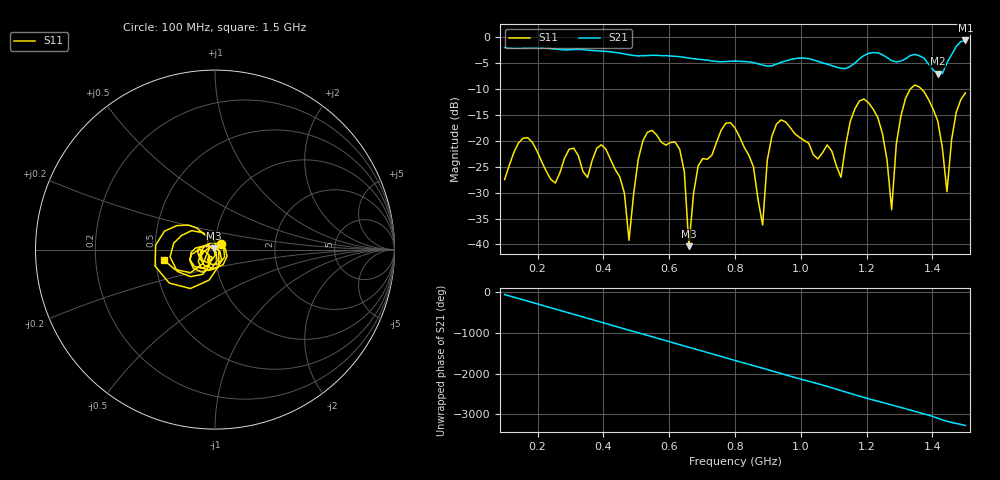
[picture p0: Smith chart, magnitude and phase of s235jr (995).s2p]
! NanoVNA-App
! Date: 2025-09-25 15:11:55
! Start: 100MHz Stop: 1,5GHz Points: 101
! S-Parameter data: F S11 S21 S12 S22
# Hz S RI R 50
!  Frequency  S11_Real  S11_Imag  S21_Real  S21_Imag  S12_Real  S12_Imag  S22_Real  S22_Imag
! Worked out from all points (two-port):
!   101 points, 100 MHz to 1.5 GHz, reference 50 ohm
!   highest |S21| = -0.60 dB at 1.5 GHz (marker M1); lowest = -7.0 dB at 1.416 GHz (marker M2)
!   |S21| within 3 dB of the highest: start of sweep to 602.5 MHz; 1.19 GHz to 1.254 GHz (64.39 MHz wide, 5.27 % of centre) (the widest 2 of 4)
!   lowest |S11| = -40.3 dB at 660 MHz (marker M3), VSWR 1.02, Z = 49.3 + j0.617 ohm
!   |S11| at or under -10 dB: start of sweep to 1.332 GHz; 1.367 GHz to end of sweep
!   S12 and S22 are empty: the file has one direction only
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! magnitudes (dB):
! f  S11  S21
! 100 MHz  -27.5  -2.0
! 170 MHz  -19.4  -2.0
! 338 MHz  -25.9  -2.4
! 408 MHz  -21.6  -2.7
! 478 MHz  -39.2  -3.4
! 520 MHz  -20.0  -3.5
! 576 MHz  -20.2  -3.5
! 632 MHz  -21.6  -3.7
! 660 MHz  -40.3  -4.0
! 688 MHz  -24.8  -4.2
! 800 MHz  -17.5  -4.6
! 884 MHz  -36.3  -5.4
! 926 MHz  -16.7  -5.2
! 1.038 GHz  -22.7  -4.4
! 1.122 GHz  -27.0  -6.0
! 1.192 GHz  -11.9  -3.5
! 1.248 GHz  -18.6  -3.4
! 1.276 GHz  -33.3  -4.5
! 1.332 GHz  -10.0  -3.5
! 1.416 GHz  -16.1  -7.0
! 1.444 GHz  -29.8  -4.9
! 1.5 GHz  -10.7  -0.6
